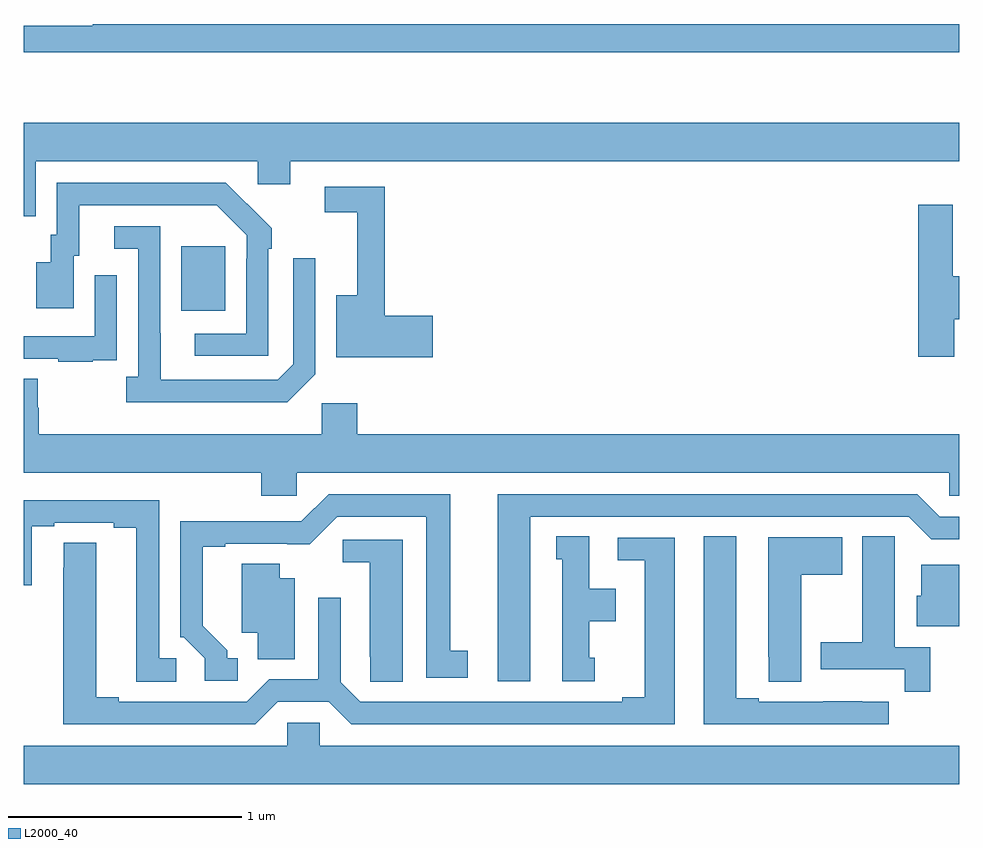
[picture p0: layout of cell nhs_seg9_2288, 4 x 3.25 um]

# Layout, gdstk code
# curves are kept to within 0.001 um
import gdstk
lib = gdstk.Library(unit=1e-6, precision=1e-09)
def R(c, l, rs):  # rectangles x0, y0, x1, y1
    for r in rs: c.add(gdstk.rectangle(r[:2], r[2:], *l))
def P(c, l, *ps):  # polygons
    for p in ps: c.add(gdstk.Polygon(p, *l))
L2000_40 = (2000, 40)

nhs_seg9_2288 = lib.new_cell('nhs_seg9_2288')
R(nhs_seg9_2288, L2000_40, [(241.673,1213.097,241.861,1213.372)])
P(nhs_seg9_2288, L2000_40, [(245,1214.323),(241.295,1214.323),(241.295,1214.315),(241,1214.315),(241,1214.202),(245,1214.202)],
  [(241.051,1213.736),(242.001,1213.736),(242.001,1213.638),(242.14,1213.638),(242.14,1213.736),(245,1213.736),(245,1213.9),(241,1213.9),(241,1213.501),(241.051,1213.501)],
  [(242.046,1213.361),(242.061,1213.361),(242.061,1213.449),(241.864,1213.644),(241.14,1213.644),(241.14,1213.422),(241.115,1213.422),(241.115,1213.303),(241.052,1213.303),(241.052,1213.107),(241.213,1213.107),(241.213,1213.332),(241.237,1213.332),(241.237,1213.548),(241.825,1213.548),(241.953,1213.419),(241.953,1213.319),(241.95,1213.319),(241.95,1212.999),(241.731,1212.999),(241.731,1212.903),(242.046,1212.903)],
  [(242.749,1213.076),(242.543,1213.076),(242.543,1213.626),(242.286,1213.626),(242.286,1213.518),(242.426,1213.518),(242.426,1213.162),(242.336,1213.162),(242.336,1212.898),(242.749,1212.898)],
  [(244.98,1213.061),(245,1213.061),(245,1213.244),(244.972,1213.244),(244.972,1213.549),(244.826,1213.549),(244.826,1212.9),(244.98,1212.9)],
  [(242.247,1212.825),(242.247,1213.321),(242.151,1213.321),(242.151,1212.867),(242.085,1212.801),(241.585,1212.801),(241.584,1213.458),(241.386,1213.458),(241.386,1213.362),(241.488,1213.362),(241.488,1212.814),(241.437,1212.814),(241.437,1212.704),(242.126,1212.704)],
  [(241.295,1212.885),(241.397,1212.885),(241.397,1212.994),(241.398,1212.994),(241.398,1213.249),(241.302,1213.249),(241.302,1212.987),(241,1212.987),(241,1212.891),(241.147,1212.891),(241.147,1212.879),(241.295,1212.879)],
  [(242.166,1212.404),(244.959,1212.404),(244.959,1212.306),(245,1212.306),(245,1212.568),(242.426,1212.568),(242.426,1212.7),(242.274,1212.7),(242.274,1212.568),(241.064,1212.568),(241.064,1212.681),(241.059,1212.681),(241.059,1212.806),(241,1212.806),(241,1212.404),(242.015,1212.404),(242.015,1212.306),(242.166,1212.306)],
  [(241.915,1211.61),(241.87,1211.61),(241.87,1211.645),(241.765,1211.75),(241.765,1212.087),(241.861,1212.087),(241.861,1212.099),(242.222,1212.098),(242.34,1212.216),(242.72,1212.216),(242.72,1211.526),(242.899,1211.526),(242.899,1211.642),(242.824,1211.642),(242.824,1212.312),(242.304,1212.312),(242.187,1212.195),(241.931,1212.195),(241.931,1212.197),(241.668,1212.197),(241.668,1211.7),(241.683,1211.7),(241.773,1211.61),(241.773,1211.514),(241.915,1211.514)],
  [(243.166,1212.216),(244.785,1212.216),(244.881,1212.12),(245,1212.12),(245,1212.216),(244.917,1212.216),(244.821,1212.312),(243.026,1212.312),(243.026,1211.511),(243.166,1211.511)],
  [(241.651,1211.61),(241.578,1211.61),(241.578,1212.285),(241,1212.285),(241,1211.923),(241.033,1211.923),(241.033,1212.174),(241.129,1212.174),(241.129,1212.189),(241.385,1212.189),(241.385,1212.169),(241.481,1212.169),(241.481,1211.509),(241.651,1211.509)],
  [(243.442,1211.613),(243.418,1211.613),(243.418,1211.768),(243.532,1211.768),(243.532,1211.908),(243.418,1211.908),(243.418,1212.131),(243.278,1212.131),(243.278,1212.033),(243.302,1212.033),(243.302,1211.511),(243.442,1211.511)],
  [(244.877,1211.658),(244.726,1211.658),(244.726,1212.02),(244.725,1212.02),(244.725,1212.131),(244.586,1212.131),(244.586,1211.679),(244.409,1211.679),(244.409,1211.562),(244.768,1211.562),(244.768,1211.466),(244.877,1211.466)],
  [(244.699,1211.424),(244.586,1211.424),(244.586,1211.425),(244.42,1211.425),(244.42,1211.424),(244.144,1211.424),(244.144,1211.439),(244.048,1211.439),(244.048,1212.131),(243.908,1212.131),(243.908,1211.328),(244.699,1211.328)],
  [(244.324,1211.968),(244.501,1211.968),(244.501,1212.127),(244.184,1212.127),(244.184,1211.617),(244.185,1211.617),(244.185,1211.509),(244.324,1211.509)],
  [(242.085,1211.424),(242.303,1211.424),(242.399,1211.328),(243.784,1211.328),(243.784,1212.126),(243.54,1212.126),(243.54,1212.03),(243.656,1212.03),(243.656,1211.444),(243.56,1211.444),(243.56,1211.424),(242.439,1211.424),(242.355,1211.508),(242.355,1211.869),(242.259,1211.869),(242.259,1211.52),(242.049,1211.52),(241.953,1211.424),(241.405,1211.424),(241.405,1211.444),(241.309,1211.444),(241.309,1212.104),(241.17,1212.104),(241.169,1211.328),(241.989,1211.328)],
  [(242.62,1212.117),(242.364,1212.117),(242.364,1212.02),(242.48,1212.02),(242.48,1211.617),(242.481,1211.617),(242.481,1211.509),(242.62,1211.509)],
  [(242.158,1211.953),(242.095,1211.953),(242.095,1212.014),(241.931,1212.014),(241.931,1211.72),(242,1211.72),(242,1211.605),(242.158,1211.605)],
  [(245,1212.01),(244.838,1212.01),(244.838,1211.877),(244.82,1211.877),(244.82,1211.747),(245,1211.747)],
  [(245,1211.236),(242.265,1211.236),(242.265,1211.334),(242.127,1211.334),(242.127,1211.236),(241,1211.236),(241,1211.072),(245,1211.072)])

lib.write_gds('nhs_seg9_2288.gds')
